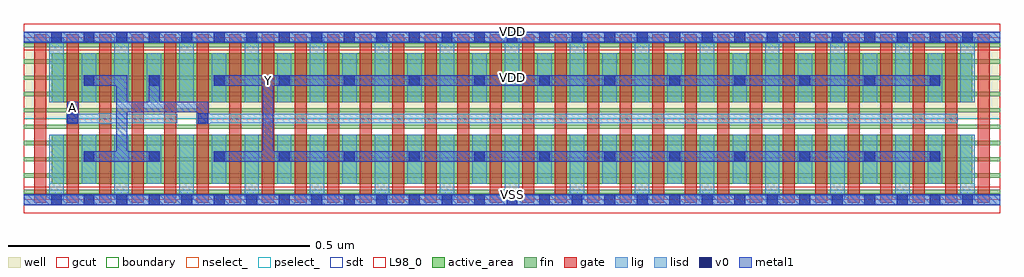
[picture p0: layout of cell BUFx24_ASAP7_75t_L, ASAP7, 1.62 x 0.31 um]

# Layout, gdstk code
import gdstk
lib = gdstk.Library(unit=1e-6, precision=2.5e-10)
def R(c, l, rs):  # rectangles x0, y0, x1, y1
    for r in rs: c.add(gdstk.rectangle(r[:2], r[2:], *l))
def A(c, l, x, y, w, h, nx, ny, dx, dy):  # array of equal rectangles
    R(c, l, [(x+i*dx, y+j*dy, x+i*dx+w, y+j*dy+h) for i in range(nx) for j in range(ny)])
def P(c, l, *ps):  # polygons
    for p in ps: c.add(gdstk.Polygon(p, *l))
well = (1, 0)
fin = (2, 0)
gate = (7, 0)
gcut = (10, 0)
active_area = (11, 0)
nselect_ = (12, 0)
pselect_ = (13, 0)
lig = (16, 0)
lisd = (17, 0)
v0 = (18, 0)
metal1 = (19, 0)
sdt = (88, 0)
L98_0 = (98, 0)
boundary = (100, 0)

bufx24_asap7_75t_l = lib.new_cell('BUFx24_ASAP7_75t_L')
R(bufx24_asap7_75t_l, well, [(0,0.135,1.62,0.27)])
A(bufx24_asap7_75t_l, fin, 0, 0.01, 1.62, 0.007, 1, 10, 0, 0.027)
A(bufx24_asap7_75t_l, gate, 0.017, -0.005, 0.02, 0.28, 30, 1, 0.054, 0)
R(bufx24_asap7_75t_l, gcut, [(0,-0.022,1.62,0.022), (0,0.248,1.62,0.292)])
R(bufx24_asap7_75t_l, active_area, [(0.046,0.027,1.574,0.108), (0.046,0.162,1.574,0.243)])
R(bufx24_asap7_75t_l, nselect_, [(0,0,1.62,0.135)])
R(bufx24_asap7_75t_l, pselect_, [(0,0.135,1.62,0.27)])
R(bufx24_asap7_75t_l, lig, [(0,-0.008,1.62,0.008), (0.124,0.126,0.146,0.144), (0.286,0.126,0.308,0.144), (0.07,0.127,0.254,0.143), (0.286,0.127,1.55,0.143), (0,0.262,1.62,0.278)])
A(bufx24_asap7_75t_l, lisd, 0.096, 0.027, 0.024, 0.081, 14, 2, 0.108, 0.135)
R(bufx24_asap7_75t_l, lisd, [(0.042,0,0.066,0.108), (0.042,0,0.066,0.108), (0.15,0,0.174,0.108), (0.15,0,0.174,0.108), (0.258,0,0.282,0.108), (0.258,0,0.282,0.108), (0.366,0,0.39,0.108), (0.366,0,0.39,0.108), (0.474,0,0.498,0.108), (0.474,0,0.498,0.108), (0.582,0,0.606,0.108), (0.582,0,0.606,0.108), (0.69,0,0.714,0.108), (0.69,0,0.714,0.108), (0.798,0,0.822,0.108), (0.798,0,0.822,0.108), (0.906,0,0.93,0.108), (0.906,0,0.93,0.108), (1.014,0,1.038,0.108), (1.014,0,1.038,0.108), (1.122,0,1.146,0.108), (1.122,0,1.146,0.108), (1.23,0,1.254,0.108), (1.23,0,1.254,0.108), (1.338,0,1.362,0.108), (1.338,0,1.362,0.108), (1.446,0,1.47,0.108), (1.446,0,1.47,0.108), (1.554,0,1.578,0.108), (1.554,0,1.578,0.108), (0.042,0.162,0.066,0.27), (0.042,0.162,0.066,0.27), (0.15,0.162,0.174,0.27), (0.15,0.162,0.174,0.27), (0.258,0.162,0.282,0.27), (0.258,0.162,0.282,0.27), (0.366,0.162,0.39,0.27), (0.366,0.162,0.39,0.27), (0.474,0.162,0.498,0.27), (0.474,0.162,0.498,0.27), (0.582,0.162,0.606,0.27), (0.582,0.162,0.606,0.27), (0.69,0.162,0.714,0.27), (0.69,0.162,0.714,0.27), (0.798,0.162,0.822,0.27), (0.798,0.162,0.822,0.27), (0.906,0.162,0.93,0.27), (0.906,0.162,0.93,0.27), (1.014,0.162,1.038,0.27), (1.014,0.162,1.038,0.27), (1.122,0.162,1.146,0.27), (1.122,0.162,1.146,0.27), (1.23,0.162,1.254,0.27), (1.23,0.162,1.254,0.27), (1.338,0.162,1.362,0.27), (1.338,0.162,1.362,0.27), (1.446,0.162,1.47,0.27), (1.446,0.162,1.47,0.27), (1.554,0.162,1.578,0.27), (1.554,0.162,1.578,0.27)])
A(bufx24_asap7_75t_l, v0, 0.045, -0.009, 0.018, 0.018, 29, 2, 0.054, 0.27)
A(bufx24_asap7_75t_l, v0, 0.099, 0.063, 0.018, 0.018, 14, 2, 0.108, 0.126)
R(bufx24_asap7_75t_l, v0, [(0.072,0.126,0.09,0.144), (0.288,0.126,0.306,0.144)])
A(bufx24_asap7_75t_l, metal1, 0.099, 0.063, 0.018, 0.018, 14, 2, 0.108, 0.126)
R(bufx24_asap7_75t_l, metal1, [(0,-0.009,1.62,0.009), (0.072,0.126,0.09,0.144), (0.072,0.126,0.09,0.163), (0.288,0.126,0.306,0.144), (0,0.261,1.62,0.279)])
P(bufx24_asap7_75t_l, metal1, [(0.288,0.126),(0.306,0.126),(0.306,0.163),(0.225,0.163),(0.225,0.207),(0.207,0.207),(0.207,0.163),(0.171,0.163),(0.171,0.207),(0.099,0.207),(0.099,0.189),(0.153,0.189),(0.153,0.081),(0.099,0.081),(0.099,0.063),(0.225,0.063),(0.225,0.081),(0.171,0.081),(0.171,0.145),(0.288,0.145)],
  [(1.521,0.207),(0.315,0.207),(0.315,0.189),(0.396,0.189),(0.396,0.081),(0.315,0.081),(0.315,0.063),(1.521,0.063),(1.521,0.081),(0.414,0.081),(0.414,0.189),(1.521,0.189)])
A(bufx24_asap7_75t_l, sdt, 0.042, 0.027, 0.024, 0.081, 3, 2, 0.054, 0.135)
A(bufx24_asap7_75t_l, sdt, 0.15, 0.027, 0.024, 0.081, 3, 2, 0.054, 0.135)
A(bufx24_asap7_75t_l, sdt, 0.258, 0.027, 0.024, 0.081, 3, 2, 0.054, 0.135)
A(bufx24_asap7_75t_l, sdt, 0.366, 0.027, 0.024, 0.081, 3, 2, 0.054, 0.135)
A(bufx24_asap7_75t_l, sdt, 0.474, 0.027, 0.024, 0.081, 3, 2, 0.054, 0.135)
A(bufx24_asap7_75t_l, sdt, 0.582, 0.027, 0.024, 0.081, 3, 2, 0.054, 0.135)
A(bufx24_asap7_75t_l, sdt, 0.69, 0.027, 0.024, 0.081, 3, 2, 0.054, 0.135)
A(bufx24_asap7_75t_l, sdt, 0.798, 0.027, 0.024, 0.081, 3, 2, 0.054, 0.135)
A(bufx24_asap7_75t_l, sdt, 0.906, 0.027, 0.024, 0.081, 3, 2, 0.054, 0.135)
A(bufx24_asap7_75t_l, sdt, 1.014, 0.027, 0.024, 0.081, 3, 2, 0.054, 0.135)
A(bufx24_asap7_75t_l, sdt, 1.122, 0.027, 0.024, 0.081, 3, 2, 0.054, 0.135)
A(bufx24_asap7_75t_l, sdt, 1.23, 0.027, 0.024, 0.081, 3, 2, 0.054, 0.135)
A(bufx24_asap7_75t_l, sdt, 1.338, 0.027, 0.024, 0.081, 3, 2, 0.054, 0.135)
A(bufx24_asap7_75t_l, sdt, 1.446, 0.027, 0.024, 0.081, 3, 2, 0.054, 0.135)
R(bufx24_asap7_75t_l, sdt, [(0.042,0.027,0.066,0.108), (1.554,0.027,1.578,0.108), (0.042,0.162,0.066,0.243), (1.554,0.162,1.578,0.243)])
R(bufx24_asap7_75t_l, L98_0, [(0,0,1.62,0.27)])
R(bufx24_asap7_75t_l, boundary, [(0,0,1.62,0.27)])
bufx24_asap7_75t_l.add(gdstk.Label('VDD', (0.81,0.2025), layer=1, texttype=251))
bufx24_asap7_75t_l.add(gdstk.Label('VSS', (0.81,-0.0675), layer=3, texttype=251))
bufx24_asap7_75t_l.add(gdstk.Label('VSS', (0.81,0.009), layer=19, texttype=251))
bufx24_asap7_75t_l.add(gdstk.Label('VDD', (0.81,0.279), layer=19, texttype=251))
bufx24_asap7_75t_l.add(gdstk.Label('A', (0.081,0.154), layer=19, texttype=251))
bufx24_asap7_75t_l.add(gdstk.Label('Y', (0.405,0.198), layer=19, texttype=251))

lib.write_gds('BUFx24_ASAP7_75t_L.gds')
